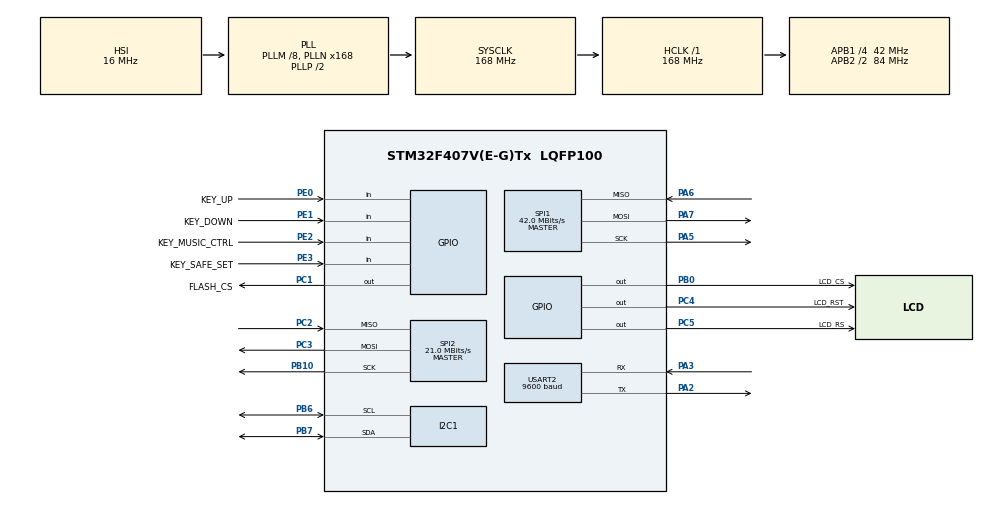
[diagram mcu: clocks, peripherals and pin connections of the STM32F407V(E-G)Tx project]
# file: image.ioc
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Dma.I2C1_TX.2.Direction=DMA_MEMORY_TO_PERIPH
Dma.I2C1_TX.2.FIFOMode=DMA_FIFOMODE_DISABLE
Dma.I2C1_TX.2.Instance=DMA1_Stream6
Dma.I2C1_TX.2.MemDataAlignment=DMA_MDATAALIGN_BYTE
Dma.I2C1_TX.2.MemInc=DMA_MINC_ENABLE
Dma.I2C1_TX.2.Mode=DMA_NORMAL
Dma.I2C1_TX.2.PeriphDataAlignment=DMA_PDATAALIGN_BYTE
Dma.I2C1_TX.2.PeriphInc=DMA_PINC_DISABLE
Dma.I2C1_TX.2.Priority=DMA_PRIORITY_LOW
Dma.Request0=SPI1_TX
Dma.Request1=SPI1_RX
Dma.Request2=I2C1_TX
Dma.Request3=USART2_RX
Dma.SPI1_RX.1.Direction=DMA_PERIPH_TO_MEMORY
Dma.SPI1_RX.1.FIFOMode=DMA_FIFOMODE_DISABLE
Dma.SPI1_RX.1.Instance=DMA2_Stream0
Dma.SPI1_RX.1.MemDataAlignment=DMA_MDATAALIGN_BYTE
Dma.SPI1_RX.1.MemInc=DMA_MINC_ENABLE
Dma.SPI1_RX.1.Mode=DMA_NORMAL
Dma.SPI1_RX.1.PeriphDataAlignment=DMA_PDATAALIGN_BYTE
Dma.SPI1_RX.1.PeriphInc=DMA_PINC_DISABLE
Dma.SPI1_RX.1.Priority=DMA_PRIORITY_MEDIUM
Dma.SPI1_TX.0.Direction=DMA_MEMORY_TO_PERIPH
Dma.SPI1_TX.0.FIFOMode=DMA_FIFOMODE_DISABLE
Dma.SPI1_TX.0.Instance=DMA2_Stream3
Dma.SPI1_TX.0.MemDataAlignment=DMA_MDATAALIGN_BYTE
Dma.SPI1_TX.0.MemInc=DMA_MINC_ENABLE
Dma.SPI1_TX.0.Mode=DMA_NORMAL
Dma.SPI1_TX.0.PeriphDataAlignment=DMA_PDATAALIGN_BYTE
Dma.SPI1_TX.0.PeriphInc=DMA_PINC_DISABLE
Dma.SPI1_TX.0.Priority=DMA_PRIORITY_MEDIUM
Dma.USART2_RX.3.Direction=DMA_PERIPH_TO_MEMORY
Dma.USART2_RX.3.FIFOMode=DMA_FIFOMODE_DISABLE
Dma.USART2_RX.3.Instance=DMA1_Stream5
Dma.USART2_RX.3.MemDataAlignment=DMA_MDATAALIGN_BYTE
Dma.USART2_RX.3.MemInc=DMA_MINC_ENABLE
Dma.USART2_RX.3.Mode=DMA_CIRCULAR
Dma.USART2_RX.3.PeriphDataAlignment=DMA_PDATAALIGN_BYTE
Dma.USART2_RX.3.PeriphInc=DMA_PINC_DISABLE
Dma.USART2_RX.3.Priority=DMA_PRIORITY_LOW
I2C1.I2C_Mode=I2C_Fast
Mcu.Family=STM32F4
Mcu.Name=STM32F407V(E-G)Tx
Mcu.Package=LQFP100
NVIC.DMA1_Stream5_IRQn=true\:0\:0\:false\:false\:true\:false\:true\:true
NVIC.DMA1_Stream6_IRQn=true\:0\:0\:false\:false\:true\:false\:true\:true
NVIC.DMA2_Stream0_IRQn=true\:0\:0\:false\:false\:true\:false\:true\:true
NVIC.DMA2_Stream3_IRQn=true\:0\:0\:false\:false\:true\:false\:true\:true
NVIC.I2C1_ER_IRQn=true\:0\:0\:false\:false\:true\:true\:true\:true
NVIC.I2C1_EV_IRQn=true\:0\:0\:false\:false\:true\:true\:true\:true
NVIC.PriorityGroup=NVIC_PRIORITYGROUP_4
NVIC.SPI1_IRQn=true\:0\:0\:false\:false\:true\:true\:true\:true
NVIC.USART2_IRQn=true\:0\:0\:false\:false\:true\:true\:true\:true
PA2.Mode=Asynchronous
PA2.Signal=USART2_TX
PA3.Mode=Asynchronous
PA3.Signal=USART2_RX
PA5.Mode=Full_Duplex_Master
PA5.Signal=SPI1_SCK
PA6.Mode=Full_Duplex_Master
PA6.Signal=SPI1_MISO
PA7.Mode=Full_Duplex_Master
PA7.Signal=SPI1_MOSI
PB0.GPIO_Label=LCD_CS
PB0.GPIO_Speed=GPIO_SPEED_FREQ_HIGH
PB0.PinState=GPIO_PIN_SET
PB0.Signal=GPIO_Output
PB10.Mode=Full_Duplex_Master
PB10.Signal=SPI2_SCK
PB6.Mode=I2C
PB6.Signal=I2C1_SCL
PB7.Mode=I2C
PB7.Signal=I2C1_SDA
PC1.GPIO_Label=FLASH_CS
PC1.GPIO_Speed=GPIO_SPEED_FREQ_HIGH
PC1.PinState=GPIO_PIN_SET
PC1.Signal=GPIO_Output
PC2.Mode=Full_Duplex_Master
PC2.Signal=SPI2_MISO
PC3.Mode=Full_Duplex_Master
PC3.Signal=SPI2_MOSI
PC4.GPIO_Label=LCD_RST
PC4.GPIO_Speed=GPIO_SPEED_FREQ_HIGH
PC4.PinState=GPIO_PIN_SET
PC4.Signal=GPIO_Output
PC5.GPIO_Label=LCD_RS
PC5.GPIO_Speed=GPIO_SPEED_FREQ_HIGH
PC5.PinState=GPIO_PIN_SET
PC5.Signal=GPIO_Output
PE0.GPIO_Label=KEY_UP
PE0.GPIO_PuPd=GPIO_PULLUP
PE0.Signal=GPIO_Input
PE1.GPIO_Label=KEY_DOWN
PE1.GPIO_PuPd=GPIO_PULLUP
PE1.Signal=GPIO_Input
PE2.GPIO_Label=KEY_MUSIC_CTRL
PE2.GPIO_PuPd=GPIO_PULLUP
PE2.Signal=GPIO_Input
PE3.GPIO_Label=KEY_SAFE_SET
PE3.GPIO_PuPd=GPIO_PULLUP
PE3.Signal=GPIO_Input
PH0-OSC_IN.Mode=HSE-External-Oscillator
PH0-OSC_IN.Signal=RCC_OSC_IN
PH1-OSC_OUT.Mode=HSE-External-Oscillator
PH1-OSC_OUT.Signal=RCC_OSC_OUT
ProjectManager.HeapSize=0x200
ProjectManager.StackSize=0x400
ProjectManager.TargetToolchain=MDK-ARM V5
RCC.48MHZClocksFreq_Value=84000000
RCC.AHBFreq_Value=168000000
RCC.APB1CLKDivider=RCC_HCLK_DIV4
RCC.APB1Freq_Value=42000000
RCC.APB1TimFreq_Value=84000000
RCC.APB2CLKDivider=RCC_HCLK_DIV2
RCC.APB2Freq_Value=84000000
RCC.APB2TimFreq_Value=168000000
RCC.CortexFreq_Value=168000000
RCC.HCLKFreq_Value=168000000
RCC.HSE_VALUE=8000000
RCC.HSI_VALUE=16000000
RCC.LSE_VALUE=32768
RCC.PLLM=8
RCC.PLLN=168
RCC.SYSCLKFreq_VALUE=168000000
RCC.SYSCLKSource=RCC_SYSCLKSOURCE_PLLCLK
RCC.VCOOutputFreq_Value=336000000
SPI1.BaudRatePrescaler=SPI_BAUDRATEPRESCALER_2
SPI1.CalculateBaudRate=42.0 MBits/s
SPI1.DataSize=SPI_DATASIZE_8BIT
SPI1.Direction=SPI_DIRECTION_2LINES
SPI1.Mode=SPI_MODE_MASTER
SPI1.VirtualType=VM_MASTER
SPI2.BaudRatePrescaler=SPI_BAUDRATEPRESCALER_2
SPI2.CalculateBaudRate=21.0 MBits/s
SPI2.Direction=SPI_DIRECTION_2LINES
SPI2.Mode=SPI_MODE_MASTER
SPI2.VirtualType=VM_MASTER
USART2.BaudRate=9600
USART2.VirtualMode=VM_ASYNC
board=custom

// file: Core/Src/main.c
/* USER CODE BEGIN Header */
/**
  ******************************************************************************
  * @file           : main.c
  * @brief          : least vision
  ******************************************************************************
  */
/* USER CODE END Header */
#include "main.h"
#include "dma.h"
#include "i2c.h"
#include "spi.h"
#include "usart.h"
#include "gpio.h"
/* USER CODE BEGIN Includes */
#include <string.h>
/* USER CODE END Includes */

/* USER CODE BEGIN PTD */
typedef enum {
    MUSIC_STOP = 0,
    MUSIC_PLAYING,
    MUSIC_PAUSE,
    MUSIC_ERROR
} Music_StatusTypeDef;
/* USER CODE END PTD */

/* USER CODE BEGIN PD */
#define TOTAL_IMAGES     8
#define IMG_WIDTH        240
#define IMG_HEIGHT       240
#define SINGLE_IMG_SIZE  (IMG_WIDTH * IMG_HEIGHT * 2)
#define TEXT1_LEN        5
#define TEXT2_LEN        18
#define LCD_CS_PORT    GPIOB
#define LCD_CS_PIN     GPIO_PIN_0
#define LCD_RS_PORT    GPIOC
#define LCD_RS_PIN     GPIO_PIN_5
#define LCD_RST_PORT   GPIOC
#define LCD_RST_PIN    GPIO_PIN_4
#define FLASH_CS_PORT  GPIOC
#define FLASH_CS_PIN   GPIO_PIN_1
#define KEY_UP_PORT     GPIOE
#define KEY_UP_PIN      GPIO_PIN_0
#define KEY_DOWN_PORT   GPIOE
#define KEY_DOWN_PIN    GPIO_PIN_1
#define KEY_MUSIC_PORT  GPIOE
#define KEY_MUSIC_PIN   GPIO_PIN_2
#define KEY_SAFE_PORT   GPIOE
#define KEY_SAFE_PIN    GPIO_PIN_3
#define OLED_ADDR       0x78
#define OLED_WIDTH      128
#define OLED_HEIGHT     64
#define FONT_WIDTH      16
#define FONT_HEIGHT     16
#define MP3_UART        &huart2
#define MP3_START_CODE  0x7E
#define MP3_END_CODE    0xEF
#define MP3_DEV_ADDR    0xFFFF
#define MP3_RX_BUF_LEN  16
/* USER CODE END PD */

/* USER CODE BEGIN PM */
#define READ_KEY_UP()      HAL_GPIO_ReadPin(KEY_UP_PORT, KEY_UP_PIN)
#define READ_KEY_DOWN()    HAL_GPIO_ReadPin(KEY_DOWN_PORT, KEY_DOWN_PIN)
#define READ_KEY_MUSIC()   HAL_GPIO_ReadPin(KEY_MUSIC_PORT, KEY_MUSIC_PIN)
#define READ_KEY_SAFE()    HAL_GPIO_ReadPin(KEY_SAFE_PORT, KEY_SAFE_PIN)
/* USER CODE END PM */

/* USER CODE BEGIN PV */
uint16_t line_buffer1[IMG_WIDTH] __attribute__((aligned(4)));
uint16_t line_buffer2[IMG_WIDTH] __attribute__((aligned(4)));
volatile uint8_t spi_dma_tx_complete = 0;

uint8_t current_img_index = 0;
uint8_t safe_mode_flag = 0;
Music_StatusTypeDef music_status = MUSIC_STOP;
const uint8_t Font_Text1[][32] = {
{0x00,0xFE,0x02,0x42,0x22,0x32,0x5E,0x92,0x52,0x32,0x12,0x02,0x02,0xFE,0x00,0x00,
 0x00,0xFF,0x42,0x42,0x42,0x51,0x55,0x64,0x69,0x41,0x42,0x42,0x42,0xFF,0x00,0x00},
{0x00,0x00,0x00,0xFE,0x20,0x20,0x20,0x20,0x20,0x3F,0x20,0x20,0x20,0x20,0x00,0x00,
 0x00,0x80,0x60,0x1F,0x02,0x02,0x02,0x02,0x02,0x02,0xFE,0x00,0x00,0x00,0x00,0x00},
{0x10,0x10,0xFF,0x10,0x90,0x82,0x56,0x3A,0x12,0x7F,0x11,0x39,0x55,0x90,0x80,0x00,
 0x42,0x82,0x7F,0x01,0x00,0x00,0xFF,0x49,0x49,0x7F,0x49,0x49,0xFF,0x00,0x00,0x00},
{0x08,0x08,0xF9,0x4A,0x48,0xC8,0x48,0x20,0xD8,0x17,0x10,0x10,0xF0,0x10,0x10,0x00,
 0x40,0x30,0x0F,0x20,0x40,0x3F,0x80,0x40,0x21,0x16,0x08,0x16,0x21,0x40,0x80,0x00},
{0x80,0x80,0x9E,0x92,0x92,0x92,0x9E,0xE0,0x80,0x9E,0xB2,0xD2,0x92,0x9E,0x80,0x00,
 0x08,0x08,0xF4,0x94,0x92,0x92,0xF1,0x00,0x01,0xF2,0x92,0x94,0x94,0xF8,0x08,0x00},
};

const uint8_t Font_Text2[][32] = {
{0x00,0x00,0xE2,0x82,0x82,0x82,0x82,0x82,0x82,0x82,0x82,0xFE,0x00,0x00,0x00,0x00,
 0x00,0x00,0x3F,0x40,0x40,0x40,0x40,0x40,0x40,0x40,0x40,0x40,0x40,0x78,0x00,0x00},
{0x40,0x40,0x42,0xCC,0x00,0x80,0x88,0x88,0xFF,0x88,0x88,0xFF,0x88,0x88,0x80,0x00,
 0x00,0x40,0x20,0x1F,0x20,0x40,0x50,0x4C,0x43,0x40,0x40,0x5F,0x40,0x40,0x40,0x00},
{0x00,0x00,0x00,0x00,0x00,0x01,0xE2,0x1C,0xE0,0x00,0x00,0x00,0x00,0x00,0x00,0x00,
 0x80,0x40,0x20,0x10,0x0C,0x03,0x00,0x00,0x00,0x03,0x0C,0x30,0x40,0x80,0x80,0x00},
{0x80,0x90,0x8C,0x84,0x84,0x84,0xF5,0x86,0x84,0x84,0x84,0x84,0x94,0x8C,0x80,0x00,
 0x00,0x80,0x80,0x84,0x46,0x49,0x28,0x10,0x10,0x2C,0x23,0x40,0x80,0x00,0x00,0x00},
{0x80,0x80,0x40,0x20,0x50,0x48,0x44,0xC3,0x44,0x48,0x50,0x20,0x40,0x80,0x80,0x00,
 0x00,0x40,0x40,0x44,0x44,0x44,0x44,0x7F,0x44,0x44,0x44,0x44,0x40,0x40,0x00,0x00},
{0x10,0x10,0xD0,0xFF,0x90,0x14,0xE4,0xAF,0xA4,0xA4,0xA4,0xAF,0xE4,0x04,0x00,0x00,
 0x04,0x03,0x00,0xFF,0x00,0x89,0x4B,0x2A,0x1A,0x0E,0x1A,0x2A,0x4B,0x88,0x80,0x00},
{0x10,0x10,0x90,0x90,0x90,0x90,0x90,0x10,0x10,0xFF,0x10,0x10,0x11,0x16,0x10,0x00,
 0x00,0x20,0x60,0x20,0x3F,0x10,0x10,0x10,0x00,0x03,0x0C,0x10,0x20,0x40,0xF8,0x00},
{0x00,0x00,0x00,0x00,0x00,0x00,0x00,0x00,0x00,0x00,0x00,0x00,0x00,0x00,0x00,0x00,
 0x00,0x00,0x58,0x38,0x00,0x00,0x00,0x00,0x00,0x00,0x00,0x00,0x00,0x00,0x00,0x00},
{0x10,0x10,0xF0,0x1F,0x10,0x10,0xF0,0x00,0x00,0xF8,0x08,0x08,0x08,0xF8,0x00,0x00,
 0x80,0x41,0x22,0x14,0x08,0x16,0x61,0x00,0x00,0x7F,0x20,0x20,0x20,0x7F,0x00,0x00},
{0x20,0x18,0x0A,0xAA,0xAA,0xAA,0x0A,0xFE,0x0A,0xAA,0xAA,0xAA,0x0A,0x28,0x18,0x00,
 0x02,0x02,0xFA,0x0A,0x0A,0x7A,0x0E,0x0A,0x7A,0x0A,0x4A,0x8A,0x7A,0x02,0x02,0x00},
{0x00,0xE0,0x00,0xFF,0x10,0x20,0x08,0x88,0x78,0x0F,0x08,0xE8,0x08,0x08,0x88,0x00,
 0x01,0x00,0x00,0xFF,0x00,0x10,0x0C,0x83,0x44,0x23,0x18,0x07,0x18,0x62,0x81,0x00},
{0x20,0x10,0x08,0xF7,0x54,0x54,0x54,0x54,0x54,0x54,0x54,0xF4,0x04,0x04,0x00,0x00,
 0x80,0x90,0x90,0x49,0x4D,0x57,0x25,0x25,0x25,0x55,0x4D,0x45,0x80,0x80,0x80,0x00},
{0x40,0x42,0xCC,0x00,0x00,0x44,0x54,0x54,0x54,0x7F,0x54,0x54,0x54,0x44,0x40,0x00,
 0x00,0x00,0x7F,0x20,0x10,0x00,0xFF,0x15,0x15,0x15,0x55,0x95,0x7F,0x00,0x00,0x00},
{0x10,0x10,0x14,0xD4,0x54,0x54,0x54,0xFC,0x52,0x52,0x52,0xD3,0x12,0x10,0x10,0x00,
 0x40,0x40,0x50,0x57,0x55,0x55,0x55,0x7F,0x55,0x55,0x55,0x57,0x50,0x40,0x40,0x00},
{0x40,0x44,0x54,0x65,0xC6,0x64,0x54,0x44,0x00,0xFC,0x44,0x44,0xC4,0x42,0x40,0x00,
 0x20,0x12,0x4A,0x82,0x7F,0x02,0x0A,0x92,0x60,0x1F,0x00,0x00,0xFF,0x00,0x00,0x00},
{0x00,0x00,0x00,0x00,0x00,0x00,0xFF,0x40,0x40,0x40,0x40,0x40,0x40,0x00,0x00,0x00,
 0x40,0x40,0x40,0x40,0x40,0x40,0x7F,0x40,0x40,0x40,0x40,0x40,0x40,0x40,0x40,0x00},
{0x00,0x00,0xF8,0x88,0x88,0x88,0x88,0xFF,0x88,0x88,0x88,0x88,0xF8,0x00,0x00,0x00,
 0x00,0x00,0x1F,0x08,0x08,0x08,0x08,0x7F,0x88,0x88,0x88,0x88,0x9F,0x80,0xF0,0x00},
{0x00,0x00,0x00,0xFE,0x00,0x00,0x00,0x00,0x00,0x00,0x00,0x00,0x00,0x00,0x00,0x00,
 0x00,0x00,0x00,0x33,0x00,0x00,0x00,0x00,0x00,0x00,0x00,0x00,0x00,0x00,0x00,0x00},
};

const uint8_t Font_ImageLine[][32] = {
{0x08,0x04,0x93,0x92,0x96,0x9A,0x92,0xFA,0x94,0x93,0x92,0x96,0xFA,0x02,0x02,0x00,
 0x40,0x40,0x47,0x24,0x24,0x14,0x0C,0xFF,0x04,0x04,0x24,0x44,0x24,0x1C,0x00,0x00},
{0x02,0xE2,0x22,0x22,0x3E,0x80,0x80,0xFF,0x80,0xA0,0x90,0x88,0x86,0x80,0x80,0x00,
 0x00,0x43,0x82,0x42,0x3E,0x00,0x00,0xFF,0x40,0x21,0x06,0x08,0x10,0x20,0x40,0x00},
{0x00,0xFE,0x02,0x42,0x22,0x32,0x5E,0x92,0x52,0x32,0x12,0x02,0x02,0xFE,0x00,0x00,
 0x00,0xFF,0x42,0x42,0x42,0x51,0x55,0x64,0x69,0x41,0x42,0x42,0x42,0xFF,0x00,0x00},
{0x00,0x00,0x00,0xFE,0x20,0x20,0x20,0x20,0x20,0x3F,0x20,0x20,0x20,0x20,0x00,0x00,
 0x00,0x80,0x60,0x1F,0x02,0x02,0x02,0x02,0x02,0x02,0xFE,0x00,0x00,0x00,0x00,0x00},
};

const uint8_t Font_MusicLine[][32] = {
{0x40,0x40,0x44,0x44,0x54,0x64,0x45,0x46,0x44,0x64,0x54,0x44,0x44,0x40,0x40,0x00,
 0x00,0x00,0x00,0xFF,0x49,0x49,0x49,0x49,0x49,0x49,0x49,0xFF,0x00,0x00,0x00,0x00},
{0x00,0x00,0xE0,0x9C,0x84,0x84,0x84,0xF4,0x82,0x82,0x83,0x82,0x80,0x80,0x00,0x00,
 0x00,0x20,0x10,0x08,0x06,0x40,0x80,0x7F,0x00,0x00,0x02,0x04,0x08,0x30,0x00,0x00},
{0x00,0x00,0x00,0x00,0x00,0x00,0x00,0x00,0x00,0x00,0x00,0x00,0x00,0x00,0x00,0x00,
 0x00,0x00,0x36,0x36,0x00,0x00,0x00,0x00,0x00,0x00,0x00,0x00,0x00,0x00,0x00,0x00},
{0x80,0x82,0x82,0x82,0xFE,0x82,0x82,0x82,0x82,0x82,0xFE,0x82,0x82,0x82,0x80,0x00,
 0x00,0x80,0x40,0x30,0x0F,0x00,0x00,0x00,0x00,0x00,0xFF,0x00,0x00,0x00,0x00,0x00},
{0x00,0x00,0x10,0x11,0x16,0x10,0x10,0xF0,0x10,0x10,0x14,0x13,0x10,0x00,0x00,0x00,
 0x81,0x81,0x41,0x41,0x21,0x11,0x0D,0x03,0x0D,0x11,0x21,0x41,0x41,0x81,0x81,0x00},
};

const uint8_t Font_SafeLine[][32] = {
{0x80,0x90,0x8C,0x84,0x84,0x84,0xF5,0x86,0x84,0x84,0x84,0x84,0x94,0x8C,0x80,0x00,
 0x00,0x80,0x80,0x84,0x46,0x49,0x28,0x10,0x10,0x2C,0x23,0x40,0x80,0x00,0x00,0x00},
{0x80,0x80,0x40,0x20,0x50,0x48,0x44,0xC3,0x44,0x48,0x50,0x20,0x40,0x80,0x80,0x00,
 0x00,0x40,0x40,0x44,0x44,0x44,0x44,0x7F,0x44,0x44,0x44,0x44,0x40,0x40,0x00,0x00},
{0x10,0x10,0xD0,0xFF,0x90,0x14,0xE4,0xAF,0xA4,0xA4,0xA4,0xAF,0xE4,0x04,0x00,0x00,
 0x04,0x03,0x00,0xFF,0x00,0x89,0x4B,0x2A,0x1A,0x0E,0x1A,0x2A,0x4B,0x88,0x80,0x00},
{0x10,0x10,0x90,0x90,0x90,0x90,0x90,0x10,0x10,0xFF,0x10,0x10,0x11,0x16,0x10,0x00,
 0x00,0x20,0x60,0x20,0x3F,0x10,0x10,0x10,0x00,0x03,0x0C,0x10,0x20,0x40,0xF8,0x00},
{0x00,0x00,0x00,0x00,0x00,0x00,0x00,0x00,0x00,0x00,0x00,0x00,0x00,0x00,0x00,0x00,
 0x00,0x00,0x36,0x36,0x00,0x00,0x00,0x00,0x00,0x00,0x00,0x00,0x00,0x00,0x00,0x00},
{0x00,0x00,0x10,0x11,0x16,0x10,0x10,0xF0,0x10,0x10,0x14,0x13,0x10,0x00,0x00,0x00,
 0x81,0x81,0x41,0x41,0x21,0x11,0x0D,0x03,0x0D,0x11,0x21,0x41,0x41,0x81,0x81,0x00},
};

const uint8_t Font_ASCII[][16] = {
{0x00,0x00,0x10,0x10,0xF8,0x00,0x00,0x00,0x00,0x00,0x20,0x20,0x3F,0x20,0x20,0x00},
{0x00,0x70,0x08,0x08,0x08,0x08,0xF0,0x00,0x00,0x30,0x28,0x24,0x22,0x21,0x30,0x00},
{0x00,0x30,0x08,0x08,0x08,0x88,0x70,0x00,0x00,0x18,0x20,0x21,0x21,0x22,0x1C,0x00},
{0x00,0x00,0x80,0x40,0x30,0xF8,0x00,0x00,0x00,0x06,0x05,0x24,0x24,0x3F,0x24,0x24},
{0x00,0xF8,0x88,0x88,0x88,0x08,0x08,0x00,0x00,0x19,0x20,0x20,0x20,0x11,0x0E,0x00},
{0x00,0xE0,0x10,0x88,0x88,0x90,0x00,0x00,0x00,0x0F,0x11,0x20,0x20,0x20,0x1F,0x00},
{0x00,0x18,0x08,0x08,0x88,0x68,0x18,0x00,0x00,0x00,0x00,0x3E,0x01,0x00,0x00,0x00},
{0x00,0x70,0x88,0x08,0x08,0x88,0x70,0x00,0x00,0x1C,0x22,0x21,0x21,0x22,0x1C,0x00},
};

const uint8_t NUM_MAP[8] = {0, 1, 2, 3, 4, 5, 6, 7};

uint8_t mp3_rx_buf[MP3_RX_BUF_LEN] = {0};
volatile uint8_t mp3_rx_flag = 0;
/* USER CODE END PV */

void SystemClock_Config(void);
/* USER CODE BEGIN PFP */
void LCD_Init(void);
void LCD_Write_Cmd(uint8_t cmd);
void LCD_Write_Data(uint8_t data);
void LCD_Write_Data_16Bit(uint16_t data);
void LCD_Set_Window(uint16_t x1, uint16_t y1, uint16_t x2, uint16_t y2);
void W25QXX_Read(uint8_t* pBuffer, uint32_t ReadAddr, uint16_t NumByteToRead);
void Display_Image_From_Flash(uint32_t flash_addr);

void OLED_Init(void);
void OLED_WriteCmd(uint8_t cmd);
void OLED_WriteData(uint8_t data);
void OLED_Clear(void);
void OLED_ShowChar(uint8_t x, uint8_t y, const uint8_t (*font_array)[16], uint8_t font_idx);
void OLED_ShowChinese(uint8_t x, uint8_t y, const uint8_t (*font_array)[32], uint8_t font_idx);

uint8_t OLED_Get_Center_X(uint8_t text_len);
void OLED_Show_Normal_Line1(void);
void OLED_Show_Normal_Line2(void);
void OLED_Show_Normal_Line3(void);
void OLED_Show_Normal_Line4(void);
void OLED_Show_SafeMode_Text2_AutoWrap(void);
void OLED_Show_Normal_Mode(void);
void OLED_Show_Safe_Mode(void);

void MP3_Send_Cmd(uint8_t cmd, uint8_t *data, uint8_t data_len);
void MP3_Play(void);
void MP3_Pause(void);
void MP3_Stop(void);
void Key_Scan(void);
/* USER CODE END PFP */

/* USER CODE BEGIN 0 */

void LCD_Write_Cmd(uint8_t cmd) {
    HAL_GPIO_WritePin(LCD_CS_PORT, LCD_CS_PIN, GPIO_PIN_RESET);
    HAL_GPIO_WritePin(LCD_RS_PORT, LCD_RS_PIN, GPIO_PIN_RESET);
    HAL_SPI_Transmit(&hspi1, &cmd, 1, 100);
    HAL_GPIO_WritePin(LCD_CS_PORT, LCD_CS_PIN, GPIO_PIN_SET);
}

void LCD_Write_Data(uint8_t data) {
    HAL_GPIO_WritePin(LCD_CS_PORT, LCD_CS_PIN, GPIO_PIN_RESET);
    HAL_GPIO_WritePin(LCD_RS_PORT, LCD_RS_PIN, GPIO_PIN_SET);
    HAL_SPI_Transmit(&hspi1, &data, 1, 100);
    HAL_GPIO_WritePin(LCD_CS_PORT, LCD_CS_PIN, GPIO_PIN_SET);
}

void LCD_Write_Data_16Bit(uint16_t data) {
    uint8_t buf[2] = {data >> 8, data & 0xFF};
    HAL_GPIO_WritePin(LCD_CS_PORT, LCD_CS_PIN, GPIO_PIN_RESET);
    HAL_GPIO_WritePin(LCD_RS_PORT, LCD_RS_PIN, GPIO_PIN_SET);
    HAL_SPI_Transmit(&hspi1, buf, 2, 100);
    HAL_GPIO_WritePin(LCD_CS_PORT, LCD_CS_PIN, GPIO_PIN_SET);
}

void LCD_Init(void) {
    HAL_GPIO_WritePin(LCD_RST_PORT, LCD_RST_PIN, GPIO_PIN_RESET);
    HAL_Delay(200);
    HAL_GPIO_WritePin(LCD_RST_PORT, LCD_RST_PIN, GPIO_PIN_SET);
    HAL_Delay(120);

    LCD_Write_Cmd(0x11); HAL_Delay(120);
    LCD_Write_Cmd(0x36); LCD_Write_Data(0x00);
    LCD_Write_Cmd(0x3A); LCD_Write_Data(0x05);
    LCD_Write_Cmd(0xB2); LCD_Write_Data(0x0C); LCD_Write_Data(0x0C);
    LCD_Write_Cmd(0xB7); LCD_Write_Data(0x35);
    LCD_Write_Cmd(0xBB); LCD_Write_Data(0x19);
    LCD_Write_Cmd(0xC0); LCD_Write_Data(0x2C);
    LCD_Write_Cmd(0xC2); LCD_Write_Data(0x01);
    LCD_Write_Cmd(0xC3); LCD_Write_Data(0x12);
    LCD_Write_Cmd(0xC4); LCD_Write_Data(0x20);
    LCD_Write_Cmd(0xC6); LCD_Write_Data(0x0F);
    LCD_Write_Cmd(0xD0); LCD_Write_Data(0xA4); LCD_Write_Data(0xA1);
    LCD_Write_Cmd(0xE0);
    LCD_Write_Data(0xD0); LCD_Write_Data(0x04); LCD_Write_Data(0x0D); LCD_Write_Data(0x11);
    LCD_Write_Data(0x13); LCD_Write_Data(0x2B); LCD_Write_Data(0x3F); LCD_Write_Data(0x54);
    LCD_Write_Data(0x4C); LCD_Write_Data(0x18); LCD_Write_Data(0x0D); LCD_Write_Data(0x0B);
    LCD_Write_Data(0x1F); LCD_Write_Data(0x23);
    LCD_Write_Cmd(0xE1);
    LCD_Write_Data(0xD0); LCD_Write_Data(0x04); LCD_Write_Data(0x0C); LCD_Write_Data(0x11);
    LCD_Write_Data(0x13); LCD_Write_Data(0x2C); LCD_Write_Data(0x3F); LCD_Write_Data(0x44);
    LCD_Write_Data(0x51); LCD_Write_Data(0x2F); LCD_Write_Data(0x1F); LCD_Write_Data(0x1F);
    LCD_Write_Data(0x20); LCD_Write_Data(0x23);
    LCD_Write_Cmd(0x21);
    LCD_Write_Cmd(0x29);
}

void LCD_Set_Window(uint16_t x1, uint16_t y1, uint16_t x2, uint16_t y2) {
    LCD_Write_Cmd(0x2A);
    LCD_Write_Data_16Bit(x1);
    LCD_Write_Data_16Bit(x2);
    LCD_Write_Cmd(0x2B);
    LCD_Write_Data_16Bit(y1);
    LCD_Write_Data_16Bit(y2);
    LCD_Write_Cmd(0x2C);
}

void W25QXX_Read(uint8_t* pBuffer, uint32_t ReadAddr, uint16_t NumByteToRead) {
    uint8_t cmd[4];
    cmd[0] = 0x03;
    cmd[1] = (uint8_t)(ReadAddr >> 16);
    cmd[2] = (uint8_t)(ReadAddr >> 8);
    cmd[3] = (uint8_t)ReadAddr;

    HAL_GPIO_WritePin(FLASH_CS_PORT, FLASH_CS_PIN, GPIO_PIN_RESET);
    HAL_SPI_Transmit(&hspi2, cmd, 4, 100);
    HAL_SPI_Receive(&hspi2, pBuffer, NumByteToRead, 1000);
    HAL_GPIO_WritePin(FLASH_CS_PORT, FLASH_CS_PIN, GPIO_PIN_SET);
}
void Display_Image_From_Flash(uint32_t flash_addr) {
    LCD_Set_Window(0, 0, IMG_WIDTH - 1, IMG_HEIGHT - 1);

    HAL_GPIO_WritePin(LCD_CS_PORT, LCD_CS_PIN, GPIO_PIN_RESET);
    HAL_GPIO_WritePin(LCD_RS_PORT, LCD_RS_PIN, GPIO_PIN_SET);
    W25QXX_Read((uint8_t*)line_buffer1, flash_addr, IMG_WIDTH * 2);

    for (int y = 0; y < IMG_HEIGHT; y++) {
        uint16_t *p_send = (y % 2 == 0) ? line_buffer1 : line_buffer2;
        uint16_t *p_read = (y % 2 == 0) ? line_buffer2 : line_buffer1;

        spi_dma_tx_complete = 0;
        HAL_SPI_Transmit_DMA(&hspi1, (uint8_t*)p_send, IMG_WIDTH * 2);

        if (y < IMG_HEIGHT - 1) {
            W25QXX_Read((uint8_t*)p_read, flash_addr + ((y+1) * IMG_WIDTH * 2), IMG_WIDTH * 2);
        }

        while(spi_dma_tx_complete == 0);
    }
    while (__HAL_SPI_GET_FLAG(&hspi1, SPI_FLAG_BSY) != RESET);

    HAL_GPIO_WritePin(LCD_CS_PORT, LCD_CS_PIN, GPIO_PIN_SET);
}

void HAL_SPI_TxCpltCallback(SPI_HandleTypeDef *hspi) {
    if(hspi->Instance == SPI1) {
        spi_dma_tx_complete = 1;
    }
}

void OLED_WriteCmd(uint8_t cmd) {
    HAL_I2C_Mem_Write(&hi2c1, OLED_ADDR, 0x00, I2C_MEMADD_SIZE_8BIT, &cmd, 1, 100);
}

void OLED_WriteData(uint8_t data) {
    HAL_I2C_Mem_Write(&hi2c1, OLED_ADDR, 0x40, I2C_MEMADD_SIZE_8BIT, &data, 1, 100);
}

void OLED_Init(void) {
    HAL_Delay(100);
    OLED_WriteCmd(0xAE);
    OLED_WriteCmd(0xD5);
    OLED_WriteCmd(0x80);
    OLED_WriteCmd(0xA8);
    OLED_WriteCmd(0x3F);
    OLED_WriteCmd(0xD3);
    OLED_WriteCmd(0x00);
    OLED_WriteCmd(0x40);
    OLED_WriteCmd(0x8D);
    OLED_WriteCmd(0x14);
    OLED_WriteCmd(0x20);
    OLED_WriteCmd(0x02);
    OLED_WriteCmd(0xA1);
    OLED_WriteCmd(0xC8);
    OLED_WriteCmd(0xDA);
    OLED_WriteCmd(0x12);
    OLED_WriteCmd(0x81);
    OLED_WriteCmd(0xCF);
    OLED_WriteCmd(0xD9);
    OLED_WriteCmd(0xF1);
    OLED_WriteCmd(0xDB);
    OLED_WriteCmd(0x40);
    OLED_WriteCmd(0xA4);
    OLED_WriteCmd(0xA6);
    OLED_WriteCmd(0xAF);
    OLED_Clear();
}

void OLED_Clear(void) {
    for (uint8_t i = 0; i < 8; i++) {
        OLED_WriteCmd(0xB0 + i);
        OLED_WriteCmd(0x00);
        OLED_WriteCmd(0x10);
        for (uint8_t n = 0; n < 128; n++) OLED_WriteData(0x00);
    }
}

void OLED_ShowChar(uint8_t x, uint8_t y, const uint8_t (*font_array)[16], uint8_t font_idx) {
    OLED_WriteCmd(0xB0 + y);
    OLED_WriteCmd(((x & 0xF0) >> 4) | 0x10);
    OLED_WriteCmd(x & 0x0F);
    for (int i = 0; i < 8; i++) OLED_WriteData(font_array[font_idx][i]);

    OLED_WriteCmd(0xB0 + y + 1);
    OLED_WriteCmd(((x & 0xF0) >> 4) | 0x10);
    OLED_WriteCmd(x & 0x0F);
    for (int i = 0; i < 8; i++) OLED_WriteData(font_array[font_idx][i + 8]);
}

void OLED_ShowChinese(uint8_t x, uint8_t y, const uint8_t (*font_array)[32], uint8_t font_idx) {
    OLED_WriteCmd(0xB0 + y);
    OLED_WriteCmd(((x & 0xF0) >> 4) | 0x10);
    OLED_WriteCmd(x & 0x0F);
    for (uint8_t i = 0; i < 16; i++) OLED_WriteData(font_array[font_idx][i]);

    OLED_WriteCmd(0xB0 + y + 1);
    OLED_WriteCmd(((x & 0xF0) >> 4) | 0x10);
    OLED_WriteCmd(x & 0x0F);
    for (uint8_t i = 0; i < 16; i++) OLED_WriteData(font_array[font_idx][i + 16]);
}

uint8_t OLED_Get_Center_X(uint8_t text_len) {
    uint16_t total_width = text_len * FONT_WIDTH;
    if(total_width >= OLED_WIDTH) return 0;
    return (OLED_WIDTH - total_width) / 2;
}

void OLED_Show_Normal_Line1(void) {
    uint8_t start_x = OLED_Get_Center_X(TEXT1_LEN);
    for(uint8_t i = 0; i < TEXT1_LEN; i++) {
        OLED_ShowChinese(start_x + i*FONT_WIDTH, 0, Font_Text1, i);
    }
}

void OLED_Show_Normal_Line2(void) {
    uint8_t show_num = current_img_index + 1;
    OLED_ShowChinese(16, 2, Font_ImageLine, 0);
    OLED_ShowChar(32, 2, Font_ASCII, NUM_MAP[show_num-1]);
    OLED_ShowChinese(48, 2, Font_ImageLine, 1);
    OLED_ShowChinese(64, 2, Font_ImageLine, 2);
    OLED_ShowChinese(80, 2, Font_ImageLine, 3);
}

void OLED_Show_Normal_Line3(void) {
    OLED_ShowChinese(16, 4, Font_MusicLine, 0);
    OLED_ShowChinese(32, 4, Font_MusicLine, 1);
    OLED_ShowChinese(48, 4, Font_MusicLine, 2);

    if(music_status == MUSIC_PLAYING) {
        OLED_ShowChinese(64, 4, Font_MusicLine, 3);
    } else {
        OLED_ShowChinese(64, 4, Font_MusicLine, 4);
    }
}

void OLED_Show_Normal_Line4(void) {
    OLED_ShowChinese(0, 6, Font_SafeLine, 0);
    OLED_ShowChinese(16, 6, Font_SafeLine, 1);
    OLED_ShowChinese(32, 6, Font_SafeLine, 2);
    OLED_ShowChinese(48, 6, Font_SafeLine, 3);
    OLED_ShowChinese(64, 6, Font_SafeLine, 4);
    OLED_ShowChinese(80, 6, Font_SafeLine, 5);
}

void OLED_Show_SafeMode_Text2_AutoWrap(void) {
    uint8_t x = 0;
    uint8_t y = 0;

    for(uint8_t i = 0; i < TEXT2_LEN; i++) {
        OLED_ShowChinese(x, y, Font_Text2, i);
        x += FONT_WIDTH;

        if(x >= OLED_WIDTH) {
            x = 0;
            y += 2;
            if(y >= OLED_HEIGHT/8) break;
        }
    }
}

void OLED_Show_Normal_Mode(void) {
    OLED_Clear();
    OLED_Show_Normal_Line1();
    OLED_Show_Normal_Line2();
    OLED_Show_Normal_Line3();
    OLED_Show_Normal_Line4();
}

void OLED_Show_Safe_Mode(void) {
    OLED_Clear();
    OLED_Show_SafeMode_Text2_AutoWrap();
}
void MP3_Send_Cmd(uint8_t cmd, uint8_t *data, uint8_t data_len) {
    uint8_t send_buf[32] = {0};
    uint8_t idx = 0;
    uint8_t check_sum = 0;

    send_buf[idx++] = MP3_START_CODE;
    uint8_t frame_len = 7 + data_len;
    send_buf[idx++] = frame_len;
    send_buf[idx++] = (MP3_DEV_ADDR >> 8) & 0xFF;
    send_buf[idx++] = MP3_DEV_ADDR & 0xFF;
    send_buf[idx++] = cmd;

    for(uint8_t i=0; i<data_len; i++) {
        send_buf[idx++] = data[i];
    }

    for(uint8_t i=0; i<idx; i++) {
        check_sum += send_buf[i];
    }
    send_buf[idx++] = check_sum;
    send_buf[idx++] = MP3_END_CODE;

    HAL_UART_Transmit(MP3_UART, send_buf, idx, 100);
}

void MP3_Play(void) {
    uint8_t data[2] = {0x00, 0x01};
    MP3_Send_Cmd(0x07, data, 2);
    music_status = MUSIC_PLAYING;
}

void MP3_Pause(void) {
    MP3_Send_Cmd(0x03, NULL, 0);
    music_status = MUSIC_PAUSE;
}

void MP3_Stop(void) {
    MP3_Send_Cmd(0x04, NULL, 0);
    music_status = MUSIC_STOP;
}

void HAL_UART_RxCpltCallback(UART_HandleTypeDef *huart) {
    if(huart->Instance == USART2) {
        mp3_rx_flag = 1;
    }
}
void Key_Scan(void) {
    static uint32_t key_last_tick = 0;
    if(HAL_GetTick() - key_last_tick < 20) return;
    key_last_tick = HAL_GetTick();
    if(safe_mode_flag == 1) {
        if(READ_KEY_UP() == GPIO_PIN_RESET) {
            current_img_index = (current_img_index == 0) ? 1 : 0;
            uint32_t img_addr = (uint32_t)current_img_index * SINGLE_IMG_SIZE;
            Display_Image_From_Flash(img_addr);
            OLED_Show_Safe_Mode();
            while(READ_KEY_UP() == GPIO_PIN_RESET);
        }
        if(READ_KEY_DOWN() == GPIO_PIN_RESET) {
            current_img_index = (current_img_index == 1) ? 0 : 1;
            uint32_t img_addr = (uint32_t)current_img_index * SINGLE_IMG_SIZE;
            Display_Image_From_Flash(img_addr);
            OLED_Show_Safe_Mode();
            while(READ_KEY_DOWN() == GPIO_PIN_RESET);
        }
        return;
    }
    if(READ_KEY_UP() == GPIO_PIN_RESET) {
        current_img_index = (current_img_index == 0) ? (TOTAL_IMAGES - 1) : (current_img_index - 1);
        uint32_t img_addr = (uint32_t)current_img_index * SINGLE_IMG_SIZE;
        Display_Image_From_Flash(img_addr);
        OLED_Show_Normal_Mode();
        while(READ_KEY_UP() == GPIO_PIN_RESET);
    }

    if(READ_KEY_DOWN() == GPIO_PIN_RESET) {
        current_img_index = (current_img_index + 1) % TOTAL_IMAGES;
        uint32_t img_addr = (uint32_t)current_img_index * SINGLE_IMG_SIZE;
        Display_Image_From_Flash(img_addr);
        OLED_Show_Normal_Mode();
        while(READ_KEY_DOWN() == GPIO_PIN_RESET);
    }
    if(READ_KEY_MUSIC() == GPIO_PIN_RESET) {
        if(music_status == MUSIC_PLAYING) {
            MP3_Pause();
        } else {
            MP3_Play();
        }
        OLED_Show_Normal_Mode();
        while(READ_KEY_MUSIC() == GPIO_PIN_RESET);
    }
    if(READ_KEY_SAFE() == GPIO_PIN_RESET) {
        safe_mode_flag = 1;
        MP3_Stop();
        current_img_index = 0;
        uint32_t img_addr = (uint32_t)current_img_index * SINGLE_IMG_SIZE;
        Display_Image_From_Flash(img_addr);
        OLED_Show_Safe_Mode();
        while(READ_KEY_SAFE() == GPIO_PIN_RESET);
    }
}
/* USER CODE END 0 */

int main(void)
{
  HAL_Init();
  SystemClock_Config();
  MX_GPIO_Init();
  MX_DMA_Init();
  MX_SPI1_Init();
  MX_SPI2_Init();
  MX_I2C1_Init();
  MX_USART2_UART_Init();

  /* USER CODE BEGIN 2 */
  LCD_Init();
  OLED_Init();
  HAL_Delay(100);

  Display_Image_From_Flash(0);
  current_img_index = 0;
  OLED_Show_Normal_Mode();

  HAL_UART_Receive_DMA(&huart2, mp3_rx_buf, MP3_RX_BUF_LEN);
  /* USER CODE END 2 */

  while (1)
  {
    Key_Scan();
  }
}

void SystemClock_Config(void)
{
  RCC_OscInitTypeDef RCC_OscInitStruct = {0};
  RCC_ClkInitTypeDef RCC_ClkInitStruct = {0};

  __HAL_RCC_PWR_CLK_ENABLE();
  __HAL_PWR_VOLTAGESCALING_CONFIG(PWR_REGULATOR_VOLTAGE_SCALE1);

  RCC_OscInitStruct.OscillatorType = RCC_OSCILLATORTYPE_HSI;
  RCC_OscInitStruct.HSIState = RCC_HSI_ON;
  RCC_OscInitStruct.HSICalibrationValue = RCC_HSICALIBRATION_DEFAULT;
  RCC_OscInitStruct.PLL.PLLState = RCC_PLL_ON;
  RCC_OscInitStruct.PLL.PLLSource = RCC_PLLSOURCE_HSI;
  RCC_OscInitStruct.PLL.PLLM = 8;
  RCC_OscInitStruct.PLL.PLLN = 168;
  RCC_OscInitStruct.PLL.PLLP = RCC_PLLP_DIV2;
  RCC_OscInitStruct.PLL.PLLQ = 4;
  if (HAL_RCC_OscConfig(&RCC_OscInitStruct) != HAL_OK)
  {
    Error_Handler();
  }

  RCC_ClkInitStruct.ClockType = RCC_CLOCKTYPE_HCLK|RCC_CLOCKTYPE_SYSCLK
                              |RCC_CLOCKTYPE_PCLK1|RCC_CLOCKTYPE_PCLK2;
  RCC_ClkInitStruct.SYSCLKSource = RCC_SYSCLKSOURCE_PLLCLK;
  RCC_ClkInitStruct.AHBCLKDivider = RCC_SYSCLK_DIV1;
  RCC_ClkInitStruct.APB1CLKDivider = RCC_HCLK_DIV4;
  RCC_ClkInitStruct.APB2CLKDivider = RCC_HCLK_DIV2;

  if (HAL_RCC_ClockConfig(&RCC_ClkInitStruct, FLASH_LATENCY_5) != HAL_OK)
  {
    Error_Handler();
  }
}

void Error_Handler(void)
{
  __disable_irq();
  while (1)
  {
  }
}
